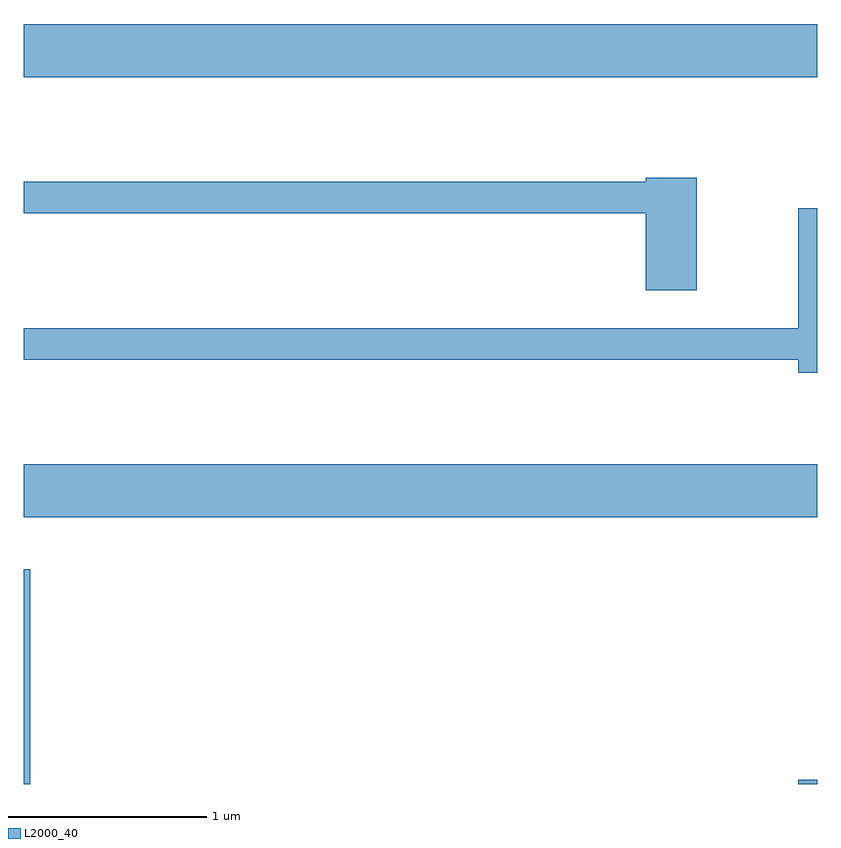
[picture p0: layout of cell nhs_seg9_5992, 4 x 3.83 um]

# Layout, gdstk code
import gdstk
lib = gdstk.Library(unit=1e-6, precision=1e-09)
def R(c, l, rs):  # rectangles x0, y0, x1, y1
    for r in rs: c.add(gdstk.rectangle(r[:2], r[2:], *l))
def P(c, l, *ps):  # polygons
    for p in ps: c.add(gdstk.Polygon(p, *l))
L2000_40 = (2000, 40)

nhs_seg9_5992 = lib.new_cell('nhs_seg9_5992')
R(nhs_seg9_5992, L2000_40, [(361.611,2030.432,361.644,2031.514), (365.516,2030.432,365.611,2030.454), (361.611,2031.776,365.611,2032.044), (361.611,2033.996,365.611,2034.264)])
P(nhs_seg9_5992, L2000_40, [(365.004,2033.489),(364.746,2033.489),(364.746,2033.469),(361.611,2033.469),(361.611,2033.311),(364.746,2033.311),(364.746,2032.921),(365.004,2032.921)],
  [(365.611,2033.334),(365.516,2033.334),(365.516,2032.729),(361.611,2032.729),(361.611,2032.571),(365.516,2032.571),(365.516,2032.506),(365.611,2032.506)])

lib.write_gds('nhs_seg9_5992.gds')
